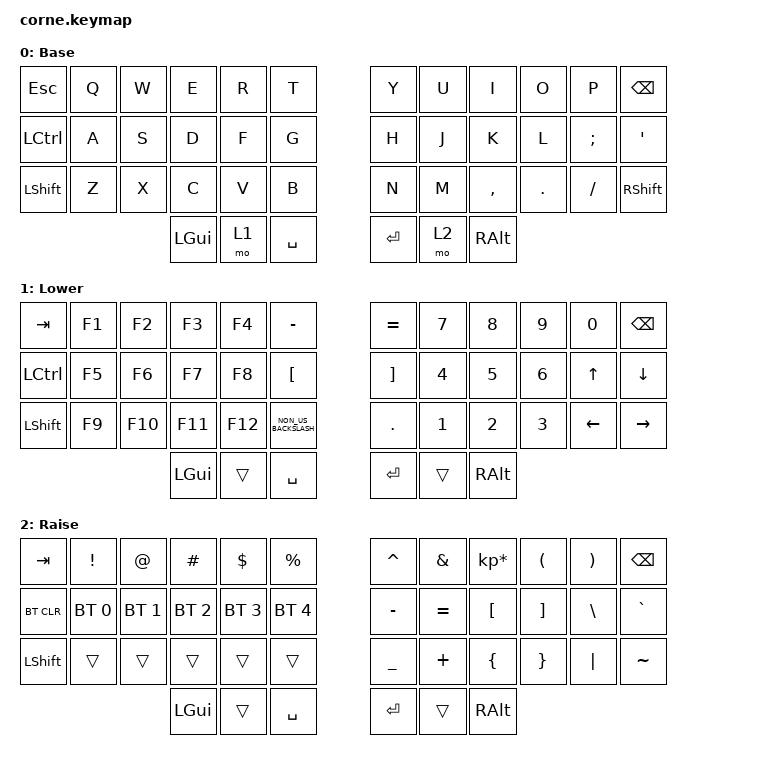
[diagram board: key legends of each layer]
/*
 * Copyright (c) 2020 The ZMK Contributors
 *
 * SPDX-License-Identifier: MIT
 */

#include <behaviors.dtsi>
#include <dt-bindings/zmk/bt.h>
#include <dt-bindings/zmk/keys.h>

/ {
    macros {
        eulho1: eulho1 {
            compatible = "zmk,behavior-macro";
            label = "EULHO1";
            #binding-cells = <0>;
            bindings =
                <&eulho1>,
                <&macro_press>;

            tap-ms = <0>;
        };
    };

    keymap {
        compatible = "zmk,keymap";

        default_layer {
           label = "Base";
            bindings = <
&kp ESCAPE  &kp Q  &kp W  &kp E     &kp R  &kp T        &kp Y    &kp U  &kp I      &kp O    &kp P     &kp BSPC
&kp LCTRL   &kp A  &kp S  &kp D     &kp F  &kp G        &kp H    &kp J  &kp K      &kp L    &kp SEMI  &kp SQT
&kp LSHFT   &kp Z  &kp X  &kp C     &kp V  &kp B        &kp N    &kp M  &kp COMMA  &kp DOT  &kp FSLH  &kp RIGHT_SHIFT
                          &kp LGUI  &mo 1  &kp SPACE    &kp RET  &mo 2  &kp RALT
            >;
        };

        lower_layer {
            label = "Lower";
            bindings = <
&kp TAB           &kp F1  &kp F2   &kp F3    &kp F4   &kp MINUS               &kp EQUAL          &kp N7        &kp N8        &kp N9        &kp N0        &kp BSPC
&kp LEFT_CONTROL  &kp F5  &kp F6   &kp F7    &kp F8   &kp LEFT_BRACKET        &kp RIGHT_BRACKET  &kp NUMBER_4  &kp N5        &kp NUMBER_6  &kp UP_ARROW  &kp DOWN
&kp LSHFT         &kp F9  &kp F10  &kp F11   &kp F12  &kp NON_US_BACKSLASH    &kp PERIOD         &kp NUMBER_1  &kp NUMBER_2  &kp NUMBER_3  &kp LEFT      &kp RIGHT
                                   &kp LGUI  &trans   &kp SPACE               &kp RET            &trans        &kp RALT
            >;
        };

        raise_layer {
            label = "Raise";
            bindings = <
&kp TAB     &kp EXCL      &kp AT        &kp HASH      &kp DLLR      &kp PRCNT       &kp CARET  &kp AMPS   &kp KP_MULTIPLY  &kp LPAR  &kp RPAR  &kp BSPC
&bt BT_CLR  &bt BT_SEL 0  &bt BT_SEL 1  &bt BT_SEL 2  &bt BT_SEL 3  &bt BT_SEL 4    &kp MINUS  &kp EQUAL  &kp LBKT         &kp RBKT  &kp BSLH  &kp GRAVE
&kp LSHFT   &trans        &trans        &trans        &trans        &trans          &kp UNDER  &kp PLUS   &kp LBRC         &kp RBRC  &kp PIPE  &kp TILDE
                                        &kp LGUI      &trans        &kp SPACE       &kp RET    &trans     &kp RALT
            >;
        };
    };
};
